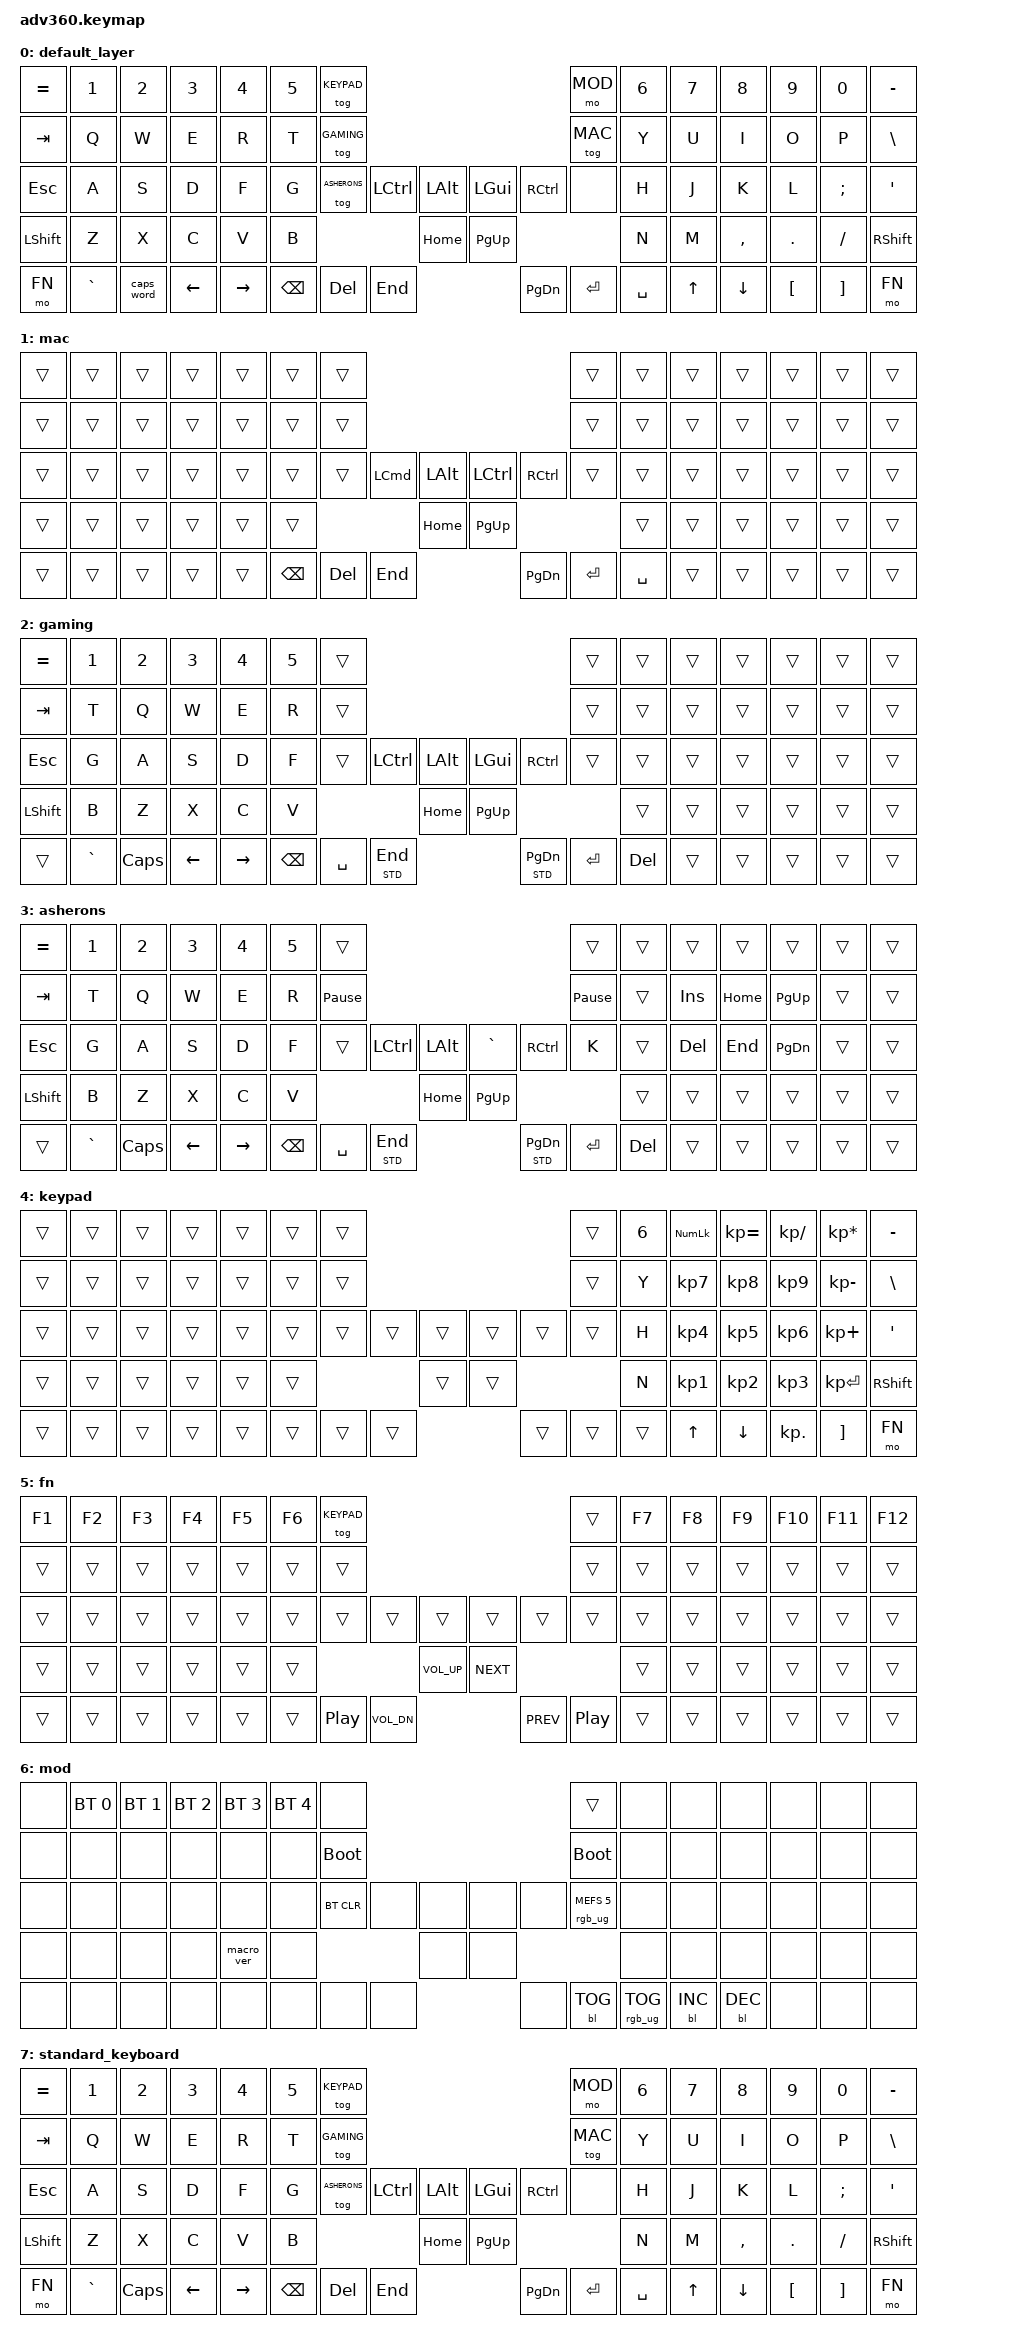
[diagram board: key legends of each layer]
#include <behaviors.dtsi>
#include <dt-bindings/zmk/keys.h>
#include <dt-bindings/zmk/bt.h>
#include <dt-bindings/zmk/rgb.h>
#include <dt-bindings/zmk/backlight.h>

#define DEFAULT 0
#define MAC 1
#define GAMING 2
#define ASHERONS 3
#define KEYPAD 4
#define FN 5
#define MOD 6
#define STD 7

/ {
    behaviors {
      #include "macros.dtsi"
      #include "version.dtsi"
      #ifndef VERSION_MACRO
      macro_ver: macro_ver {
        compatible = "zmk,behavior-macro";
        label = "macro_version";
        #binding-cells = <0>;
        bindings = <&kp RET>;
      };
      #endif

      hm: homerow_mods {
          compatible = "zmk,behavior-hold-tap";
          label = "HOMEROW_MODS";
          #binding-cells = <2>;
          tapping-term-ms = <200>;
          quick_tap_ms = <175>;
          flavor = "tap-preferred";
          bindings = <&kp>, <&kp>;
      };
    };

  keymap {
    compatible = "zmk,keymap";

    default_layer {
      bindings = <
        &kp EQUAL &kp N1    &kp N2     &kp N3   &kp N4     &kp N5 &tog KEYPAD                                                                     &mo MOD  &kp N6 &kp N7 &kp N8    &kp N9   &kp N0   &kp MINUS
        &kp TAB   &kp Q     &kp W      &kp E    &kp R      &kp T  &tog GAMING                                                                     &tog MAC &kp Y  &kp U  &kp I     &kp O    &kp P    &kp BSLH
        &kp ESC   &kp A     &kp S      &kp D    &kp F      &kp G  &tog ASHERONS           &kp LCTRL &kp LALT &kp LGUI  &kp RCTRL                  &none    &kp H  &kp J  &kp K     &kp L    &kp SEMI &kp SQT
        &kp LSHFT &kp Z     &kp X      &kp C    &kp V      &kp B                                    &kp HOME &kp PG_UP                                     &kp N  &kp M  &kp COMMA &kp DOT  &kp FSLH &kp RSHFT
        &mo FN    &kp GRAVE &caps_word &kp LEFT &kp RIGHT                        &kp BSPC &kp DEL   &kp END  &kp PG_DN &kp ENTER &kp SPACE                        &kp UP &kp DOWN  &kp LBKT &kp RBKT &mo FN
      >;
    };
    mac {
      bindings = <
        &trans &trans &trans &trans &trans &trans &trans                                                                       &trans &trans &trans &trans &trans &trans &trans
        &trans &trans &trans &trans &trans &trans &trans                                                                       &trans &trans &trans &trans &trans &trans &trans
        &trans &trans &trans &trans &trans &trans &trans               &kp LCMD &kp LALT &kp LCTRL &kp RCTRL                   &trans &trans &trans &trans &trans &trans &trans
        &trans &trans &trans &trans &trans &trans                               &kp HOME &kp PG_UP                                    &trans &trans &trans &trans &trans &trans
        &trans &trans &trans &trans &trans                    &kp BSPC &kp DEL  &kp END  &kp PG_DN &kp ENTER &kp SPACE                       &trans &trans &trans &trans &trans
      >;
    };
    gaming {
      bindings = <
        &kp EQUAL &kp N1    &kp N2   &kp N3   &kp N4     &kp N5 &trans                                                                              &trans &trans &trans &trans &trans &trans &trans
        &kp TAB   &kp T     &kp Q    &kp W    &kp E      &kp R  &trans                                                                              &trans &trans &trans &trans &trans &trans &trans
        &kp ESC   &kp G     &kp A    &kp S    &kp D      &kp F  &trans               &kp LCTRL &kp LALT     &kp LGUI  &kp RCTRL                     &trans &trans &trans &trans &trans &trans &trans
        &kp LSHFT &kp B     &kp Z    &kp X    &kp C      &kp V                                 &kp HOME     &kp PG_UP                                      &trans &trans &trans &trans &trans &trans
        &trans    &kp GRAVE &kp CAPS &kp LEFT &kp RIGHT                     &kp BSPC &kp SPACE &lt STD END  &lt STD PG_DN &kp ENTER &kp DEL                       &trans &trans &trans &trans &trans
      >;
    };
    asherons {
      bindings = <
        &kp EQUAL &kp N1    &kp N2   &kp N3   &kp N4     &kp N5 &trans                                                                                   &trans           &trans &trans  &trans   &trans    &trans &trans
        &kp TAB   &kp T     &kp Q    &kp W    &kp E      &kp R  &kp PAUSE_BREAK                                                                          &kp PAUSE_BREAK  &trans &kp INS &kp HOME &kp PG_UP &trans &trans
        &kp ESC   &kp G     &kp A    &kp S    &kp D      &kp F  &trans                    &kp LCTRL &kp LALT     &kp GRAVE      &kp RCTRL                &kp K            &trans &kp DEL &kp END  &kp PG_DN &trans &trans
        &kp LSHFT &kp B     &kp Z    &kp X    &kp C      &kp V                                      &kp HOME     &kp PG_UP                                                &trans &trans  &trans   &trans    &trans &trans
        &trans    &kp GRAVE &kp CAPS &kp LEFT &kp RIGHT                          &kp BSPC &kp SPACE &lt STD END  &lt STD PG_DN  &kp ENTER &kp DEL                                &trans  &trans   &trans    &trans &trans
      >;
    };
    keypad {
      bindings = <
        &trans &trans &trans &trans &trans &trans  &trans                                                      &trans &kp N6 &kp KP_NUM &kp KP_EQUAL &kp KP_DIVIDE &kp KP_MULTIPLY &kp MINUS
        &trans &trans &trans &trans &trans &trans  &trans                                                      &trans &kp Y  &kp KP_N7  &kp KP_N8    &kp KP_N9     &kp KP_MINUS    &kp BSLH
        &trans &trans &trans &trans &trans &trans  &trans              &trans &trans &trans &trans             &trans &kp H  &kp KP_N4  &kp KP_N5    &kp KP_N6     &kp KP_PLUS     &kp SQT
        &trans &trans &trans &trans &trans &trans                            &trans &trans                            &kp N  &kp KP_N1  &kp KP_N2    &kp KP_N3     &kp KP_ENTER    &kp RSHFT
        &trans &trans &trans &trans &trans                     &trans &trans &trans &trans &trans &trans                     &kp UP     &kp DOWN     &kp KP_DOT    &kp RBKT        &mo FN
      >;  
    };
    fn {
      bindings = <
        &kp F1 &kp F2 &kp F3 &kp F4 &kp F5 &kp F6 &tog KEYPAD                                                                   &trans &kp F7 &kp F8 &kp F9 &kp F10 &kp F11 &kp F12
        &trans &trans &trans &trans &trans &trans  &trans                                                                       &trans &trans &trans &trans &trans  &trans  &trans
        &trans &trans &trans &trans &trans &trans  &trans                 &trans   &trans       &trans     &trans               &trans &trans &trans &trans &trans  &trans  &trans
        &trans &trans &trans &trans &trans &trans                                  &kp C_VOL_UP &kp C_NEXT                             &trans &trans &trans &trans  &trans  &trans
        &trans &trans &trans &trans &trans                         &trans &kp C_PP &kp C_VOL_DN &kp C_PREV &kp C_PP &trans                    &trans &trans &trans  &trans  &trans
      >;
    };
    mod {
      bindings = <
        &none &bt BT_SEL 0 &bt BT_SEL 1 &bt BT_SEL 2 &bt BT_SEL 3 &bt BT_SEL 4 &none                                                                        &trans                 &none        &none        &none        &none &none &none
        &none &none        &none        &none        &none        &none        &bootloader                                                                  &bootloader            &none        &none        &none        &none &none &none
        &none &none        &none        &none        &none        &none        &bt BT_CLR               &none &none &none &none                             &rgb_ug RGB_MEFS_CMD 5 &none        &none        &none        &none &none &none
        &none &none        &none        &none        &macro_ver   &none                                       &none &none                                                          &none        &none        &none        &none &none &none
        &none &none        &none        &none        &none                                        &none &none &none &none &bl BL_TOG &rgb_ug RGB_TOG                                            &bl BL_INC   &bl BL_DEC   &none &none &none
      >;
    };

    // REDEFINING STANDARD KEYBOARD LAYOUT
    standard_keyboard {
      bindings = <
        &kp EQUAL &kp N1    &kp N2   &kp N3   &kp N4     &kp N5 &tog KEYPAD                                                                     &mo MOD  &kp N6 &kp N7 &kp N8    &kp N9   &kp N0   &kp MINUS
        &kp TAB   &kp Q     &kp W    &kp E    &kp R      &kp T  &tog GAMING                                                                     &tog MAC &kp Y  &kp U  &kp I     &kp O    &kp P    &kp BSLH
        &kp ESC   &kp A     &kp S    &kp D    &kp F      &kp G  &tog ASHERONS           &kp LCTRL &kp LALT &kp LGUI  &kp RCTRL                  &none    &kp H  &kp J  &kp K     &kp L    &kp SEMI &kp SQT
        &kp LSHFT &kp Z     &kp X    &kp C    &kp V      &kp B                                    &kp HOME &kp PG_UP                                     &kp N  &kp M  &kp COMMA &kp DOT  &kp FSLH &kp RSHFT
        &mo FN    &kp GRAVE &kp CAPS &kp LEFT &kp RIGHT                        &kp BSPC &kp DEL   &kp END  &kp PG_DN &kp ENTER &kp SPACE                        &kp UP &kp DOWN  &kp LBKT &kp RBKT &mo FN
      >;
    };
  };
};
